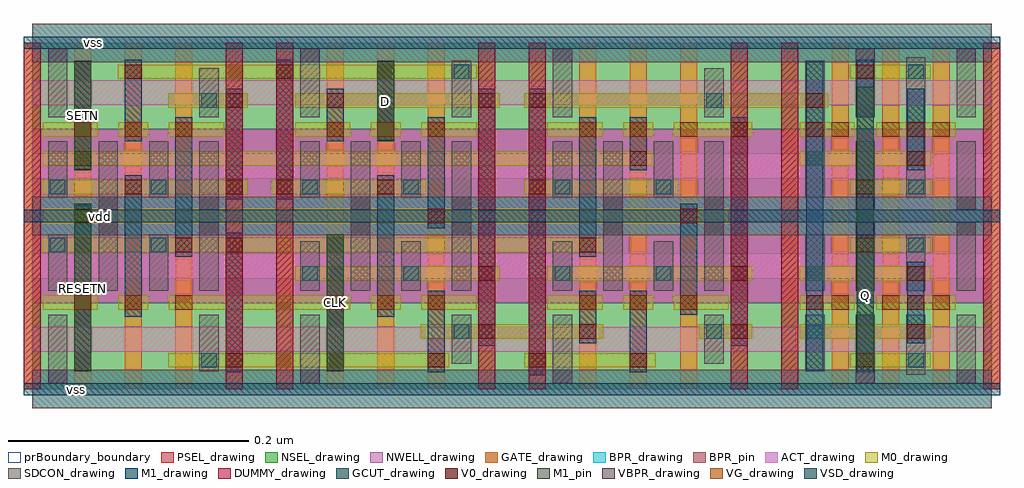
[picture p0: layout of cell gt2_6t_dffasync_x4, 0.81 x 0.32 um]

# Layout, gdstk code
import gdstk
lib = gdstk.Library(unit=1e-6, precision=5e-10)
def R(c, l, rs):  # rectangles x0, y0, x1, y1
    for r in rs: c.add(gdstk.rectangle(r[:2], r[2:], *l))
def A(c, l, x, y, w, h, nx, ny, dx, dy):  # array of equal rectangles
    R(c, l, [(x+i*dx, y+j*dy, x+i*dx+w, y+j*dy+h) for i in range(nx) for j in range(ny)])
NWELL_drawing = (1, 0)
ACT_drawing = (2, 0)
GATE_drawing = (3, 0)
DUMMY_drawing = (4, 0)
GCUT_drawing = (5, 0)
NSEL_drawing = (6, 0)
PSEL_drawing = (7, 0)
BPR_drawing = (8, 0)
BPR_pin = (8, 251)
VBPR_drawing = (9, 0)
SDCON_drawing = (10, 0)
VSD_drawing = (11, 0)
VG_drawing = (12, 0)
M0_drawing = (20, 0)
V0_drawing = (22, 0)
M1_drawing = (25, 0)
M1_pin = (25, 251)
prBoundary_boundary = (235, 250)

gt2_6t_dffasync_x4 = lib.new_cell('gt2_6t_dffasync_x4')
R(gt2_6t_dffasync_x4, NWELL_drawing, [(0,0.072,0.798,0.216)])
R(gt2_6t_dffasync_x4, ACT_drawing, [(0,0.031,0.798,0.052), (0,0.092,0.798,0.113), (0,0.175,0.798,0.196), (0,0.236,0.798,0.257)])
A(gt2_6t_dffasync_x4, GATE_drawing, -0.007, 0, 0.014, 0.288, 20, 1, 0.042, 0)
R(gt2_6t_dffasync_x4, DUMMY_drawing, [(-0.007,0,0.007,0.288), (0.161,0,0.175,0.288), (0.203,0,0.217,0.288), (0.371,0,0.385,0.288), (0.413,0,0.427,0.288), (0.581,0,0.595,0.288), (0.623,0,0.637,0.288), (0.791,0,0.805,0.288)])
A(gt2_6t_dffasync_x4, GCUT_drawing, -0.007, -0.005, 0.812, 0.01, 1, 3, 0, 0.144)
R(gt2_6t_dffasync_x4, NSEL_drawing, [(0,0,0.798,0.072), (0,0.216,0.798,0.288)])
R(gt2_6t_dffasync_x4, PSEL_drawing, [(0,0.072,0.798,0.216)])
A(gt2_6t_dffasync_x4, BPR_drawing, 0, -0.016, 0.798, 0.032, 1, 3, 0, 0.144)
A(gt2_6t_dffasync_x4, BPR_pin, 0, -0.016, 0.798, 0.032, 1, 3, 0, 0.144)
A(gt2_6t_dffasync_x4, VBPR_drawing, 0.013, 0.005, 0.016, 0.011, 3, 2, 0.21, 0.267)
R(gt2_6t_dffasync_x4, VBPR_drawing, [(0.685,0.005,0.701,0.016), (0.769,0.005,0.785,0.016), (0.055,0.128,0.071,0.139), (0.139,0.128,0.155,0.139), (0.265,0.128,0.281,0.139), (0.349,0.128,0.365,0.139), (0.475,0.128,0.491,0.139), (0.559,0.128,0.575,0.139), (0.685,0.128,0.701,0.139), (0.769,0.128,0.785,0.139), (0.055,0.149,0.071,0.16), (0.139,0.149,0.155,0.16), (0.265,0.149,0.281,0.16), (0.349,0.149,0.365,0.16), (0.475,0.149,0.491,0.16), (0.559,0.149,0.575,0.16), (0.685,0.149,0.701,0.16), (0.769,0.149,0.785,0.16), (0.685,0.272,0.701,0.283), (0.769,0.272,0.785,0.283)])
A(gt2_6t_dffasync_x4, SDCON_drawing, 0.013, 0.005, 0.016, 0.057, 3, 2, 0.21, 0.221)
R(gt2_6t_dffasync_x4, SDCON_drawing, [(0.685,0.005,0.701,0.062), (0.769,0.005,0.785,0.062), (0.727,0.012,0.743,0.062), (0.139,0.015,0.155,0.062), (0.643,0.015,0.659,0.062), (0.349,0.021,0.365,0.062), (0.559,0.021,0.575,0.062), (0.013,0.082,0.029,0.129), (0.055,0.082,0.071,0.149), (0.097,0.082,0.113,0.129), (0.139,0.082,0.155,0.149), (0.223,0.082,0.239,0.123), (0.265,0.082,0.281,0.149), (0.307,0.082,0.323,0.123), (0.349,0.082,0.365,0.149), (0.433,0.082,0.449,0.123), (0.475,0.082,0.491,0.149), (0.517,0.082,0.533,0.123), (0.559,0.082,0.575,0.149), (0.643,0.082,0.659,0.129), (0.685,0.082,0.701,0.139), (0.727,0.082,0.743,0.129), (0.769,0.082,0.785,0.139), (0.055,0.149,0.071,0.206), (0.139,0.149,0.155,0.206), (0.265,0.149,0.281,0.206), (0.349,0.149,0.365,0.206), (0.475,0.149,0.491,0.206), (0.559,0.149,0.575,0.206), (0.685,0.149,0.701,0.206), (0.769,0.149,0.785,0.206), (0.013,0.159,0.029,0.206), (0.097,0.159,0.113,0.206), (0.223,0.159,0.239,0.206), (0.307,0.159,0.323,0.206), (0.433,0.159,0.449,0.206), (0.517,0.159,0.533,0.206), (0.643,0.159,0.659,0.226), (0.727,0.159,0.743,0.226), (0.139,0.226,0.155,0.267), (0.349,0.226,0.365,0.273), (0.559,0.226,0.575,0.267), (0.643,0.226,0.659,0.273), (0.685,0.226,0.701,0.283), (0.727,0.226,0.743,0.276), (0.769,0.226,0.785,0.283)])
R(gt2_6t_dffasync_x4, VSD_drawing, [(0.1405,0.018,0.1535,0.03), (0.7285,0.018,0.7415,0.03), (0.3505,0.042,0.3635,0.054), (0.5605,0.042,0.5735,0.054), (0.6445,0.042,0.6575,0.054), (0.2245,0.09,0.2375,0.102), (0.3085,0.09,0.3215,0.102), (0.4345,0.09,0.4475,0.102), (0.5185,0.09,0.5315,0.102), (0.6445,0.09,0.6575,0.102), (0.0145,0.114,0.0275,0.126), (0.0985,0.114,0.1115,0.126), (0.7285,0.114,0.7415,0.126), (0.0145,0.162,0.0275,0.174), (0.0985,0.162,0.1115,0.174), (0.2245,0.162,0.2375,0.174), (0.3085,0.162,0.3215,0.174), (0.4345,0.162,0.4475,0.174), (0.5185,0.162,0.5315,0.174), (0.7285,0.162,0.7415,0.174), (0.6445,0.186,0.6575,0.198), (0.1405,0.234,0.1535,0.246), (0.5605,0.234,0.5735,0.246), (0.3505,0.258,0.3635,0.27), (0.7285,0.258,0.7415,0.27)])
A(gt2_6t_dffasync_x4, VG_drawing, 0.035, 0.066, 0.014, 0.012, 3, 2, 0.042, 0.144)
A(gt2_6t_dffasync_x4, VG_drawing, 0.245, 0.066, 0.014, 0.012, 3, 2, 0.042, 0.144)
A(gt2_6t_dffasync_x4, VG_drawing, 0.455, 0.066, 0.014, 0.012, 3, 2, 0.042, 0.144)
A(gt2_6t_dffasync_x4, VG_drawing, 0.665, 0.066, 0.014, 0.012, 3, 2, 0.042, 0.144)
A(gt2_6t_dffasync_x4, M0_drawing, 0.0715, 0.066, 0.025, 0.012, 3, 2, 0.21, 0.144)
A(gt2_6t_dffasync_x4, M0_drawing, 0.3235, 0.066, 0.046, 0.012, 3, 1, 0.105, 0)
A(gt2_6t_dffasync_x4, M0_drawing, 0.0085, 0.21, 0.046, 0.012, 5, 1, 0.105, 0)
R(gt2_6t_dffasync_x4, M0_drawing, [(0.113,0.018,0.347,0.03), (0.409,0.018,0.5185,0.03), (0.6805,0.018,0.7475,0.03), (0.323,0.042,0.475,0.054), (0.5545,0.042,0.599,0.054), (0.6385,0.042,0.7475,0.054), (0.0085,0.066,0.0545,0.078), (0.1135,0.066,0.2645,0.078), (0.6385,0.066,0.684,0.078), (0.702,0.066,0.768,0.078), (0.2185,0.09,0.389,0.102), (0.4285,0.09,0.599,0.102), (0.6385,0.09,0.7475,0.102), (0.0085,0.114,0.4755,0.126), (0.6805,0.114,0.7475,0.126), (0.0085,0.138,0.5795,0.15), (0.0085,0.162,0.179,0.174), (0.199,0.162,0.3275,0.174), (0.409,0.162,0.5375,0.174), (0.6805,0.162,0.7475,0.174), (0.0085,0.186,0.5155,0.198), (0.6385,0.186,0.7475,0.198), (0.5335,0.21,0.599,0.222), (0.6385,0.21,0.684,0.222), (0.702,0.21,0.768,0.222), (0.113,0.234,0.179,0.246), (0.2185,0.234,0.389,0.246), (0.409,0.234,0.662,0.246), (0.071,0.258,0.3695,0.27), (0.6805,0.258,0.7475,0.27)])
A(gt2_6t_dffasync_x4, V0_drawing, 0.329, 0.018, 0.014, 0.012, 3, 1, 0.084, 0)
A(gt2_6t_dffasync_x4, V0_drawing, 0.728, 0.042, 0.014, 0.012, 1, 3, 0, 0.024)
A(gt2_6t_dffasync_x4, V0_drawing, 0.077, 0.066, 0.014, 0.012, 1, 3, 0, 0.096)
A(gt2_6t_dffasync_x4, V0_drawing, 0.245, 0.066, 0.014, 0.012, 3, 2, 0.042, 0.144)
A(gt2_6t_dffasync_x4, V0_drawing, 0.455, 0.066, 0.014, 0.012, 3, 1, 0.042, 0)
A(gt2_6t_dffasync_x4, V0_drawing, 0.035, 0.21, 0.014, 0.012, 3, 1, 0.042, 0)
R(gt2_6t_dffasync_x4, V0_drawing, [(0.161,0.018,0.175,0.03), (0.686,0.018,0.7,0.03), (0.371,0.042,0.385,0.054), (0.455,0.042,0.469,0.054), (0.581,0.042,0.595,0.054), (0.035,0.066,0.049,0.078), (0.644,0.066,0.658,0.078), (0.371,0.09,0.385,0.102), (0.581,0.09,0.595,0.102), (0.119,0.114,0.133,0.126), (0.161,0.114,0.175,0.126), (0.455,0.114,0.469,0.126), (0.686,0.114,0.7,0.126), (0.035,0.138,0.049,0.15), (0.329,0.138,0.343,0.15), (0.539,0.138,0.553,0.15), (0.161,0.162,0.175,0.174), (0.203,0.162,0.217,0.174), (0.287,0.162,0.301,0.174), (0.413,0.162,0.427,0.174), (0.686,0.162,0.7,0.174), (0.035,0.186,0.049,0.198), (0.497,0.186,0.511,0.198), (0.728,0.186,0.742,0.198), (0.455,0.21,0.469,0.222), (0.497,0.21,0.511,0.222), (0.581,0.21,0.595,0.222), (0.644,0.21,0.658,0.222), (0.728,0.21,0.742,0.222), (0.161,0.234,0.175,0.246), (0.245,0.234,0.259,0.246), (0.371,0.234,0.385,0.246), (0.413,0.234,0.427,0.246), (0.644,0.234,0.658,0.246), (0.203,0.258,0.217,0.27), (0.686,0.258,0.7,0.27)])
R(gt2_6t_dffasync_x4, M1_drawing, [(0.413,0.0115,0.427,0.25), (0.161,0.014,0.175,0.13), (0.329,0.014,0.343,0.082), (0.497,0.014,0.511,0.082), (0.686,0.014,0.7,0.158), (0.035,0.015,0.049,0.154), (0.245,0.015,0.259,0.129), (0.644,0.0155,0.658,0.1595), (0.371,0.036,0.385,0.25), (0.581,0.036,0.595,0.226), (0.455,0.038,0.469,0.082), (0.728,0.038,0.742,0.106), (0.077,0.06,0.091,0.178), (0.287,0.06,0.301,0.178), (0.539,0.062,0.553,0.154), (0.119,0.11,0.133,0.226), (0.455,0.11,0.469,0.226), (0.329,0.134,0.343,0.226), (0.161,0.158,0.175,0.25), (0.203,0.158,0.217,0.274), (0.686,0.158,0.7,0.274), (0.644,0.1595,0.658,0.2725), (0.035,0.182,0.049,0.273), (0.497,0.182,0.511,0.226), (0.728,0.182,0.742,0.25), (0.077,0.206,0.091,0.274), (0.245,0.206,0.259,0.25), (0.287,0.206,0.301,0.273)])
R(gt2_6t_dffasync_x4, M1_pin, [(0.686,0.014,0.7,0.2515), (0.035,0.015,0.049,0.153), (0.245,0.015,0.259,0.129), (0.035,0.183,0.049,0.273), (0.287,0.207,0.301,0.273)])
R(gt2_6t_dffasync_x4, prBoundary_boundary, [(0,0,0.798,0.288)])
gt2_6t_dffasync_x4.add(gdstk.Label('SETN', (0.042,0.228), layer=25, texttype=251))
gt2_6t_dffasync_x4.add(gdstk.Label('CLK', (0.252,0.072), layer=25, texttype=251))
gt2_6t_dffasync_x4.add(gdstk.Label('Q', (0.693,0.0775), layer=25, texttype=251))
gt2_6t_dffasync_x4.add(gdstk.Label('RESETN', (0.042,0.084), layer=25, texttype=251))
gt2_6t_dffasync_x4.add(gdstk.Label('D', (0.294,0.2395), layer=25, texttype=251))
gt2_6t_dffasync_x4.add(gdstk.Label('vdd', (0.0565,0.144), layer=8, texttype=251))
gt2_6t_dffasync_x4.add(gdstk.Label('vss', (0.037,0), layer=8, texttype=251))
gt2_6t_dffasync_x4.add(gdstk.Label('vss', (0.051,0.288), layer=8, texttype=251))

lib.write_gds('gt2_6t_dffasync_x4.gds')
